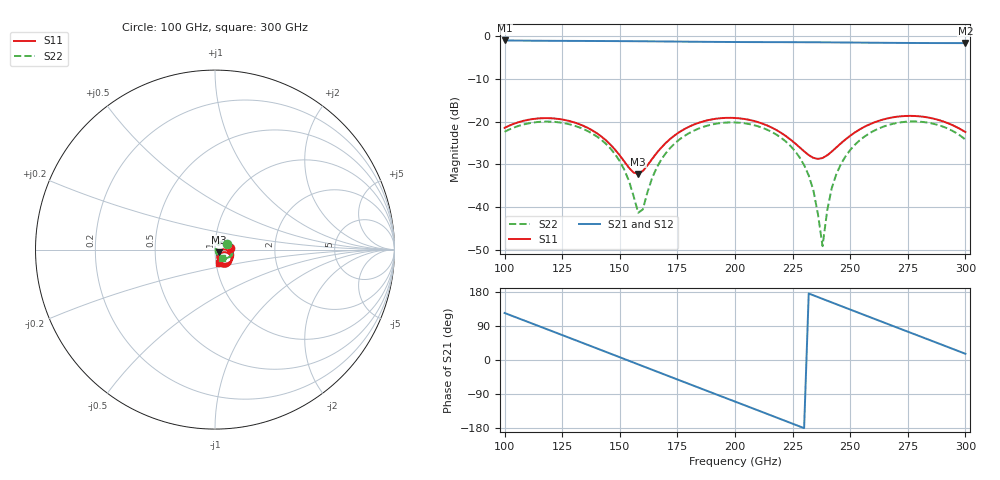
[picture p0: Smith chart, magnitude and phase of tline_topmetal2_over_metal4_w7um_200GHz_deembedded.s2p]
! Created with skrf 2.0.1 (http://scikit-rf.org).
# GHz S DB R 50.0
!freq dBS11 angS11 dBS21 angS21 dBS12 angS12 dBS22 angS22
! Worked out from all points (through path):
!   101 points, 100 GHz to 300 GHz, reference 50 ohm
!   highest |S21| = -0.96 dB at 100 GHz (marker M1); lowest = -1.6 dB at 300 GHz (marker M2)
!   group delay of S21, straight-line fit = 6.5 ps
!   lowest |S11| = -32.2 dB at 158 GHz (marker M3), VSWR 1.05, Z = 52.1 - j1.38 ohm
!   |S11| at or under -10 dB: start of sweep to end of sweep
!   |S22| runs from -49.2 to -20.0 dB; largest |S21 - S12| = 1e-14
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100  -21.46 5.1  -0.96 124.1  -0.96 124.1  -22.38 25.9
116  -19.20 -25.9  -1.04 86.8  -1.04 86.8  -20.02 -3.9
134  -20.94 -59.9  -1.08 44.8  -1.08 44.8  -21.68 -38.8
150  -27.93 -72.5  -1.12 7.2  -1.12 7.2  -29.29 -64.1
154  -30.83 -60.5  -1.13 -2.2  -1.13 -2.2  -33.96 -62.4
158  -32.24 -32.9  -1.15 -11.6  -1.15 -11.6  -41.36 -24.6
160  -31.55 -18.4  -1.15 -16.3  -1.15 -16.3  -40.58 22.3
164  -28.77 -1.8  -1.17 -25.6  -1.17 -25.6  -33.27 51.2
168  -26.09 2.3  -1.19 -35.0  -1.19 -35.0  -28.90 51.5
184  -20.31 -15.8  -1.27 -72.4  -1.27 -72.4  -21.67 25.0
200  -19.14 -43.7  -1.33 -109.7  -1.33 -109.7  -20.19 -7.5
222  -23.35 -73.1  -1.36 -161.1  -1.36 -161.1  -24.64 -53.1
230  -26.96 -67.3  -1.38 -179.9  -1.38 -179.9  -30.20 -67.6
234  -28.49 -53.9  -1.39 170.7  -1.39 170.7  -36.06 -70.1
238  -28.53 -35.3  -1.40 161.3  -1.40 161.3  -49.20 5.7
240  -27.90 -27.2  -1.41 156.6  -1.41 156.6  -40.86 61.7
242  -27.02 -21.2  -1.42 151.9  -1.42 151.9  -35.58 67.7
246  -25.07 -15.1  -1.43 142.5  -1.43 142.5  -29.92 64.6
256  -21.26 -18.7  -1.48 119.1  -1.48 119.1  -23.58 45.7
268  -19.04 -34.9  -1.53 91.1  -1.53 91.1  -20.58 20.0
282  -18.87 -56.4  -1.57 58.5  -1.57 58.5  -20.10 -10.8
300  -22.44 -74.7  -1.58 16.4  -1.58 16.4  -24.20 -51.2
